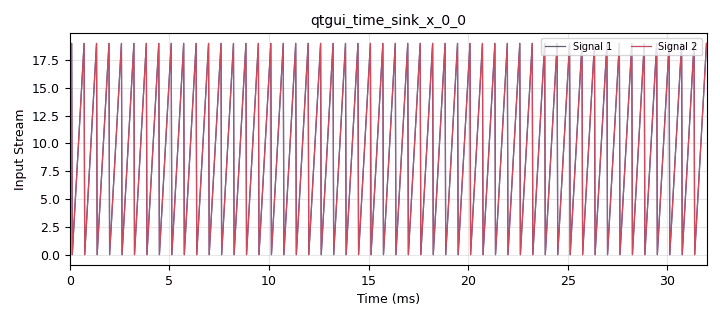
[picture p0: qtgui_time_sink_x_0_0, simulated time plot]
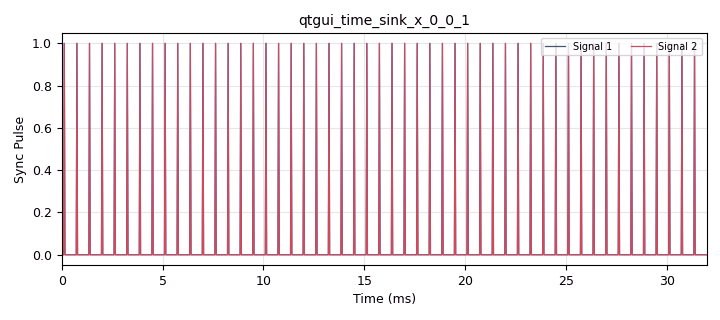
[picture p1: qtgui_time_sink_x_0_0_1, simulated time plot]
options:
  parameters:
    generate_options: qt_gui
    id: Stream_Aligner
    output_language: python
    title: Not titled yet
  states: {}

blocks:
- name: BitSeq
  id: variable
  parameters:
    value: list(range(0,PacketSize))
  states: {}
- name: PacketSize
  id: variable
  parameters:
    value: '20'
  states: {}
- name: counter
  id: variable
  parameters:
    value: range(1,10)
  states: {}
- name: counter_delay
  id: variable
  parameters:
    value: delay
  states: {}
- name: delay
  id: variable_qtgui_range
  parameters:
    gui_hint: 1,1
    label: Delay
    orient: Qt.Horizontal
    rangeType: int
    start: '0'
    step: '1'
    stop: '10'
    value: '0'
  states: {}
- name: samp_rate
  id: variable
  parameters:
    value: '32000'
  states: {}
- name: stream_delay
  id: variable
  parameters:
    value: delay
  states: {}
- name: sync
  id: variable
  parameters:
    value: '[1,] + [0]*(PacketSize - 1)'
  states: {}
- name: Hybrid_Comm_Stream_Aligner_0
  id: Hybrid_Comm_Stream_Aligner
  parameters:
    packetSize: PacketSize
  states: {}
- name: blocks_add_const_vxx_0
  id: blocks_add_const_vxx
  parameters:
    const: counter_delay
    type: short
  states: {}
- name: blocks_char_to_float_0
  id: blocks_char_to_float
  parameters:
    scale: '1'
  states: {}
- name: blocks_char_to_float_0_0
  id: blocks_char_to_float
  parameters:
    scale: '1'
  states: {}
- name: blocks_char_to_float_0_0_0
  id: blocks_char_to_float
  parameters:
    scale: '1'
  states: {}
- name: blocks_char_to_float_0_0_0_0
  id: blocks_char_to_float
  parameters:
    scale: '1'
  states: {}
- name: blocks_char_to_float_0_0_0_0_0
  id: blocks_char_to_float
  parameters:
    scale: '1'
  states: {}
- name: blocks_char_to_float_0_0_1
  id: blocks_char_to_float
  parameters:
    scale: '1'
  states: {}
- name: blocks_char_to_float_0_0_1_0
  id: blocks_char_to_float
  parameters:
    scale: '1'
  states: {}
- name: blocks_delay_0
  id: blocks_delay
  parameters:
    delay: stream_delay
    type: short
  states: {}
- name: blocks_delay_1
  id: blocks_delay
  parameters:
    delay: stream_delay
    num_ports: '2'
    type: byte
  states: {}
- name: blocks_short_to_float_0
  id: blocks_short_to_float
  parameters:
    scale: '1'
  states: {}
- name: blocks_short_to_float_0_0
  id: blocks_short_to_float
  parameters:
    scale: '1'
  states: {}
- name: blocks_stream_mux_0
  id: blocks_stream_mux
  parameters:
    lengths: '[1, PacketSize-1]'
    type: short
  states: {}
- name: blocks_stream_mux_0_0
  id: blocks_stream_mux
  parameters:
    lengths: '[1, PacketSize-1]'
    type: short
  states: {}
- name: blocks_sub_xx_0
  id: blocks_sub_xx
  parameters:
    type: float
  states: {}
- name: blocks_throttle_0
  id: blocks_throttle
  parameters:
    samples_per_second: samp_rate
    type: byte
  states: {}
- name: blocks_vector_source_x_0
  id: blocks_vector_source_x
  parameters:
    repeat: 'True'
    type: short
    vector: (0, )
  states: {}
- name: blocks_vector_source_x_0_0
  id: blocks_vector_source_x
  parameters:
    repeat: 'True'
    type: short
    vector: (0, )
  states: {}
- name: blocks_vector_source_x_1
  id: blocks_vector_source_x
  parameters:
    repeat: 'True'
    type: short
    vector: counter
  states: {}
- name: blocks_vector_source_x_1_0
  id: blocks_vector_source_x
  parameters:
    repeat: 'True'
    type: short
    vector: counter
  states: {}
- name: blocks_vector_source_x_2
  id: blocks_vector_source_x
  parameters:
    repeat: 'True'
    type: byte
    vector: BitSeq
  states: {}
- name: blocks_vector_source_x_2_0
  id: blocks_vector_source_x
  parameters:
    repeat: 'True'
    type: byte
    vector: sync
  states: {}
- name: import_0
  id: import
  parameters:
    imports: import numpy as np
  states: {}
- name: qtgui_time_sink_x_0
  id: qtgui_time_sink_x
  parameters:
    autoscale: 'True'
    gui_hint: 0, 1
    label1: seq 1
    label2: seq 2
    nconnections: '2'
    size: '1024'
    srate: samp_rate
    type: float
    ylabel: Sequence
  states: {}
- name: qtgui_time_sink_x_0_0
  id: qtgui_time_sink_x
  parameters:
    autoscale: 'True'
    gui_hint: 0,0
    nconnections: '2'
    size: '1024'
    srate: samp_rate
    type: float
    ylabel: Input Stream
  states: {}
- name: qtgui_time_sink_x_0_0_0
  id: qtgui_time_sink_x
  parameters:
    autoscale: 'True'
    gui_hint: 2, 1
    label1: ctrl
    size: '1024'
    srate: samp_rate
    type: float
    ylabel: Ctrl
  states: {}
- name: qtgui_time_sink_x_0_0_1
  id: qtgui_time_sink_x
  parameters:
    autoscale: 'True'
    gui_hint: 1,0
    nconnections: '2'
    size: '1024'
    srate: samp_rate
    type: float
    ylabel: Sync Pulse
  states: {}
- name: qtgui_time_sink_x_0_0_1_0
  id: qtgui_time_sink_x
  parameters:
    autoscale: 'True'
    gui_hint: 2,0
    size: '1024'
    srate: samp_rate
    type: float
    ylabel: Counter
  states: {}

connections:
- [Hybrid_Comm_Stream_Aligner_0, '0', blocks_char_to_float_0, '0']
- [Hybrid_Comm_Stream_Aligner_0, '1', blocks_char_to_float_0_0, '0']
- [Hybrid_Comm_Stream_Aligner_0, '2', blocks_char_to_float_0_0_0, '0']
- [blocks_add_const_vxx_0, '0', blocks_stream_mux_0_0, '0']
- [blocks_char_to_float_0, '0', qtgui_time_sink_x_0, '0']
- [blocks_char_to_float_0_0, '0', qtgui_time_sink_x_0, '1']
- [blocks_char_to_float_0_0_0, '0', qtgui_time_sink_x_0_0_0, '0']
- [blocks_char_to_float_0_0_0_0, '0', qtgui_time_sink_x_0_0, '1']
- [blocks_char_to_float_0_0_0_0_0, '0', qtgui_time_sink_x_0_0_1, '1']
- [blocks_char_to_float_0_0_1, '0', qtgui_time_sink_x_0_0, '0']
- [blocks_char_to_float_0_0_1_0, '0', qtgui_time_sink_x_0_0_1, '0']
- [blocks_delay_0, '0', Hybrid_Comm_Stream_Aligner_0, '5']
- [blocks_delay_0, '0', blocks_short_to_float_0_0, '0']
- [blocks_delay_1, '0', Hybrid_Comm_Stream_Aligner_0, '3']
- [blocks_delay_1, '0', blocks_char_to_float_0_0_0_0, '0']
- [blocks_delay_1, '1', Hybrid_Comm_Stream_Aligner_0, '4']
- [blocks_delay_1, '1', blocks_char_to_float_0_0_0_0_0, '0']
- [blocks_short_to_float_0, '0', blocks_sub_xx_0, '0']
- [blocks_short_to_float_0_0, '0', blocks_sub_xx_0, '1']
- [blocks_stream_mux_0, '0', Hybrid_Comm_Stream_Aligner_0, '2']
- [blocks_stream_mux_0, '0', blocks_short_to_float_0, '0']
- [blocks_stream_mux_0_0, '0', blocks_delay_0, '0']
- [blocks_sub_xx_0, '0', qtgui_time_sink_x_0_0_1_0, '0']
- [blocks_throttle_0, '0', Hybrid_Comm_Stream_Aligner_0, '0']
- [blocks_throttle_0, '0', blocks_char_to_float_0_0_1, '0']
- [blocks_throttle_0, '0', blocks_delay_1, '0']
- [blocks_vector_source_x_0, '0', blocks_stream_mux_0, '1']
- [blocks_vector_source_x_0_0, '0', blocks_stream_mux_0_0, '1']
- [blocks_vector_source_x_1, '0', blocks_stream_mux_0, '0']
- [blocks_vector_source_x_1_0, '0', blocks_add_const_vxx_0, '0']
- [blocks_vector_source_x_2, '0', blocks_throttle_0, '0']
- [blocks_vector_source_x_2_0, '0', Hybrid_Comm_Stream_Aligner_0, '1']
- [blocks_vector_source_x_2_0, '0', blocks_char_to_float_0_0_1_0, '0']
- [blocks_vector_source_x_2_0, '0', blocks_delay_1, '1']

metadata:
  file_format: 1
